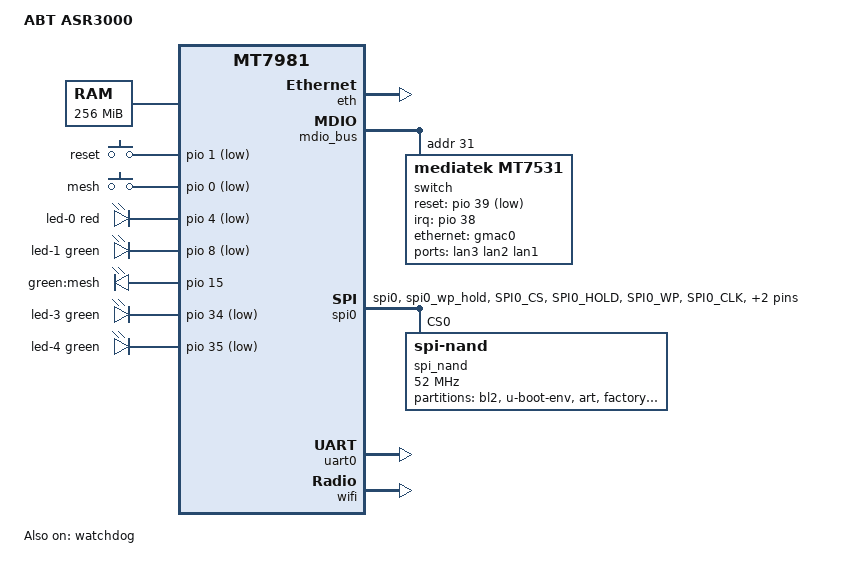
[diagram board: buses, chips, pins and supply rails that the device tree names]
// SPDX-License-Identifier: GPL-2.0-or-later OR MIT

/dts-v1/;
#include <dt-bindings/gpio/gpio.h>
#include <dt-bindings/input/input.h>
#include <dt-bindings/leds/common.h>
#include <dt-bindings/pinctrl/mt65xx.h>

#include "mt7981b.dtsi"

/ {
	model = "ABT ASR3000";
	compatible = "abt,asr3000", "mediatek,mt7981";

	aliases {
		led-boot = &mesh_led;
		led-failsafe = &mesh_led;
		led-upgrade = &mesh_led;
		label-mac-device = &gmac1;
		serial0 = &uart0;
	};

	chosen {
		rootdisk = <&ubi_rootdisk>;
		stdout-path = "serial0:115200n8";
	};

	memory@40000000 {
		reg = <0 0x40000000 0 0x10000000>;
		device_type = "memory";
	};

	gpio-keys {
		compatible = "gpio-keys";

		button-reset {
			label = "reset";
			linux,code = <KEY_RESTART>;
			gpios = <&pio 1 GPIO_ACTIVE_LOW>;
		};

		button-mesh {
			label = "mesh";
			linux,code = <BTN_9>;
			linux,input-type = <EV_SW>;
			gpios = <&pio 0 GPIO_ACTIVE_LOW>;
		};
	};

	gpio-leds {
		compatible = "gpio-leds";

		led-0 {
			function = LED_FUNCTION_WAN;
			color = <LED_COLOR_ID_RED>;
			gpios = <&pio 4 GPIO_ACTIVE_LOW>;
		};

		led-1 {
			function = LED_FUNCTION_WAN;
			color = <LED_COLOR_ID_GREEN>;
			gpios = <&pio 8 GPIO_ACTIVE_LOW>;
		};

		mesh_led: led-2 {
			label = "green:mesh";
			gpios = <&pio 15 GPIO_ACTIVE_HIGH>;
		};

		led-3 {
			function = LED_FUNCTION_WLAN_2GHZ;
			color = <LED_COLOR_ID_GREEN>;
			gpios = <&pio 34 GPIO_ACTIVE_LOW>;
		};

		led-4 {
			function = LED_FUNCTION_WLAN_5GHZ;
			color = <LED_COLOR_ID_GREEN>;
			gpios = <&pio 35 GPIO_ACTIVE_LOW>;
		};
	};
};

&eth {
	status = "okay";

	gmac0: mac@0 {
		compatible = "mediatek,eth-mac";
		reg = <0>;
		phy-mode = "2500base-x";

		nvmem-cells = <&macaddr_art_0 0>;
		nvmem-cell-names = "mac-address";

		fixed-link {
			speed = <2500>;
			full-duplex;
			pause;
		};
	};

	gmac1: mac@1 {
		compatible = "mediatek,eth-mac";
		reg = <1>;
		phy-mode = "gmii";
		phy-handle = <&int_gbe_phy>;

		nvmem-cells = <&macaddr_art_0 0>;
		nvmem-cell-names = "mac-address";
	};
};

&mdio_bus {
	switch: switch@1f {
		compatible = "mediatek,mt7531";
		reg = <31>;
		reset-gpios = <&pio 39 GPIO_ACTIVE_LOW>;
		interrupt-controller;
		#interrupt-cells = <1>;
		interrupt-parent = <&pio>;
		interrupts = <38 IRQ_TYPE_LEVEL_HIGH>;
	};
};

&pio {
	spi0_flash_pins: spi0-pins {
		mux {
			function = "spi";
			groups = "spi0", "spi0_wp_hold";
		};

		conf-pu {
			pins = "SPI0_CS", "SPI0_HOLD", "SPI0_WP";
			drive-strength = <MTK_DRIVE_8mA>;
			bias-disable; /* bias-disable */
		};

		conf-pd {
			pins = "SPI0_CLK", "SPI0_MOSI", "SPI0_MISO";
			drive-strength = <MTK_DRIVE_8mA>;
			bias-disable; /* bias-disable */
		};
	};
};

&spi0 {
	pinctrl-names = "default";
	pinctrl-0 = <&spi0_flash_pins>;
	status = "okay";

	spi_nand: flash@0 {
		#address-cells = <1>;
		#size-cells = <1>;
		compatible = "spi-nand";
		reg = <0>;

		spi-max-frequency = <52000000>;
		spi-tx-bus-width = <4>;
		spi-rx-bus-width = <4>;

		partitions {
			compatible = "fixed-partitions";
			#address-cells = <1>;
			#size-cells = <1>;

			partition@0 {
				label = "bl2";
				reg = <0x0 0x100000>;
				read-only;
			};

			partition@100000 {
				label = "u-boot-env";
				reg = <0x100000 0x80000>;
			};

			partition@180000 {
				label = "art";
				reg = <0x180000 0x100000>;
				read-only;

				nvmem-layout {
					compatible = "fixed-layout";
					#address-cells = <1>;
					#size-cells = <1>;

					macaddr_art_0: macaddr@0 {
						compatible = "mac-base";
						reg = <0x0 0x6>;
						#nvmem-cell-cells = <1>;
					};
				};
			};

			partition@280000 {
				label = "factory";
				reg = <0x280000 0x100000>;
				read-only;

				nvmem-layout {
					compatible = "fixed-layout";
					#address-cells = <1>;
					#size-cells = <1>;

					eeprom_factory_0: eeprom@0 {
						reg = <0x0 0x1000>;
					};
				};
			};

			partition@380000 {
				label = "fip";
				reg = <0x380000 0x200000>;
				read-only;
			};

			partition@580000 {
				compatible = "linux,ubi";
				label = "ubi";
				reg = <0x580000 0x7a80000>;

				volumes {
					ubi_rootdisk: ubi-volume-fit {
						volname = "fit";
					};
				};
			};
		};
	};
};

&switch {
	ports {
		#address-cells = <1>;
		#size-cells = <0>;

		port@0 {
			reg = <0>;
			label = "lan3";
		};

		port@1 {
			reg = <1>;
			label = "lan2";
		};

		port@2 {
			reg = <2>;
			label = "lan1";
		};

		port@6 {
			reg = <6>;
			ethernet = <&gmac0>;
			phy-mode = "2500base-x";

			fixed-link {
				speed = <2500>;
				full-duplex;
				pause;
			};
		};
	};
};

&uart0 {
	status = "okay";
};

&watchdog {
	status = "okay";
};

&wifi {
	nvmem-cells = <&eeprom_factory_0>;
	nvmem-cell-names = "eeprom";
	status = "okay";
};
